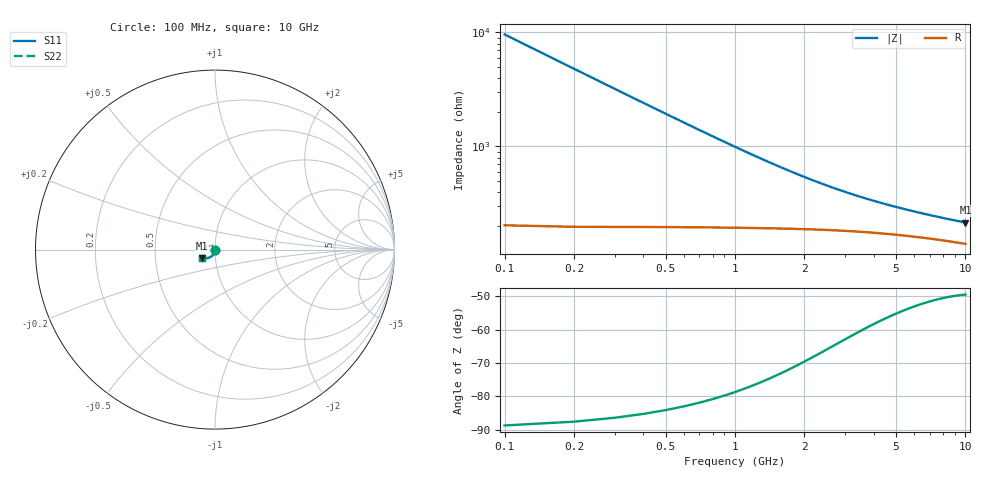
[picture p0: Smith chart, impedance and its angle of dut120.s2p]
! Touchstone file exported from HFSS 2024.1.0
!  File:  C:/UserFiles/LocalFiles/RDL_TSV_Batchsim/temp_TSV1_120_1779378761.aedt
!  Generated:  11:57:25 PM May 21, 2026
!  Design:  TSV1
!  Project:  temp_TSV1_120_1779378761
!  Setup:  Setup1
!  Solution:  Sweep
! Variables:
!  dtsv = 14um
!  hbump = 3um
!  htsv = 97.17um
!  lrdl = 252.1521522um
!  p = 40
!  p1 = 40.52um
!  t = 500um
!  trdl = 3um
!  wrdl = 24.89489489um
# GHz S MA R 50.000000
! Terminal data exported
! Port[1] = TSV22_T1
! Port[2] = TSV22_T2
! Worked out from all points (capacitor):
!   100 points, 100 MHz to 10 GHz, reference 50 ohm
!   read as one part in shunt: C = 166 fF near 100 MHz
!   lowest |Z| = 215 ohm at 10 GHz (marker M1)
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0.1  0.002248 -88.9  0.9998 -0.2  0.9998 -0.2  0.002248 -88.9
! Gamma 0 0 0 0
! Port Impedance 50 0 50 0
0.2  0.004498 -91.4  0.9996 -0.3  0.9996 -0.3  0.004498 -91.4
0.3  0.006748 -93.2  0.9993 -0.5  0.9993 -0.5  0.006748 -93.2
0.4  0.008989 -94.8  0.9989 -0.7  0.9989 -0.7  0.008989 -94.8
0.5  0.01121 -96.4  0.9984 -0.8  0.9984 -0.8  0.01121 -96.4
0.6  0.01341 -97.9  0.9978 -1.0  0.9978 -1.0  0.01341 -97.9
0.7  0.01557 -99.4  0.9971 -1.1  0.9971 -1.1  0.01557 -99.4
0.8  0.01771 -100.8  0.9963 -1.3  0.9963 -1.3  0.01771 -100.8
0.9  0.0198 -102.2  0.9955 -1.4  0.9955 -1.4  0.0198 -102.2
1.1  0.02385 -105.0  0.9936 -1.7  0.9936 -1.7  0.02385 -105.0
1.4  0.02958 -108.8  0.9903 -2.1  0.9903 -2.1  0.02958 -108.8
1.6  0.03314 -111.2  0.988 -2.4  0.988 -2.4  0.03314 -111.2
1.8  0.0365 -113.5  0.9855 -2.6  0.9855 -2.6  0.0365 -113.5
2.1  0.04115 -116.7  0.9818 -2.9  0.9818 -2.9  0.04115 -116.7
2.5  0.04668 -120.4  0.9768 -3.3  0.9768 -3.3  0.04668 -120.4
2.9  0.05151 -123.8  0.972 -3.6  0.972 -3.6  0.05151 -123.8
3.4  0.05672 -127.4  0.9664 -3.9  0.9664 -3.9  0.05672 -127.4
4.2  0.06353 -132.1  0.9585 -4.3  0.9585 -4.3  0.06353 -132.1
5.1  0.06958 -136.2  0.9511 -4.7  0.9511 -4.7  0.06958 -136.2
6.7  0.07758 -141.5  0.9409 -5.4  0.9409 -5.4  0.07758 -141.5
8.4  0.08369 -145.5  0.933 -6.0  0.933 -6.0  0.08369 -145.5
10  0.08802 -148.2  0.9273 -6.5  0.9273 -6.5  0.08802 -148.2
